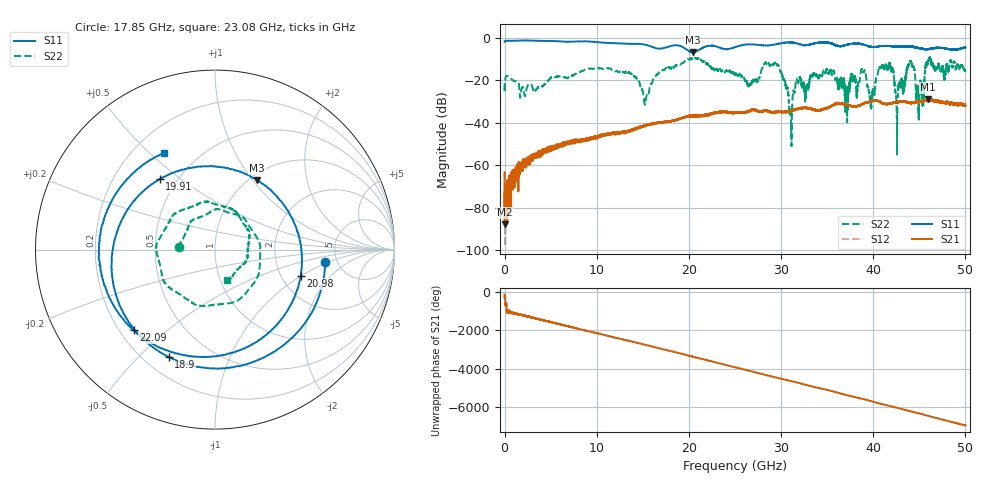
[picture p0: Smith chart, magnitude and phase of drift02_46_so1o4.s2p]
!Created with skrf (http://scikit-rf.org).
# Hz S RI R 50.0
!freq ReS11 ImS11 ReS21 ImS21 ReS12 ImS12 ReS22 ImS22
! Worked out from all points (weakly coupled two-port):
!   10001 points, 300 kHz to 50 GHz, reference 50 ohm
!   highest |S21| = -29.04 dB at 45.93 GHz (marker M1); lowest = -87.9 dB at 15.3 MHz (marker M2)
!   lowest |S11| = -6.9 dB at 20.41 GHz (marker M3), VSWR 2.65, Z = 54.1 + j52.5 ohm
!   |S11| at or under -10 dB: nowhere
!   |S22| runs from -55.0 to -9.2 dB; largest |S21 - S12| = 0.0032
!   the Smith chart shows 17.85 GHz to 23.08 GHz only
!   S11 on the Smith chart (normalised r, x): 17.85 GHz: 4.00, -0.92; 18.9 GHz: 0.30, -0.62; 19.91 GHz: 0.40, +0.42; 20.98 GHz: 2.56, -1.00; 22.09 GHz: 0.26, -0.39; 23.08 GHz: 0.32, +0.56
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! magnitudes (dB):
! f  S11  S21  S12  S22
! 300 kHz  -2.1  -63.4  -63.0  -21.6
! 15.3 MHz  -2.0  -87.9  -72.4  -24.7
! 8.335 GHz  -1.7  -48.3  -47.9  -15.7
! 15.33 GHz  -3.4  -41.0  -41.3  -29.1
! 16.67 GHz  -5.2  -40.2  -40.1  -17.0
! 17.85 GHz  -4.2  -39.5  -39.3  -13.9
! 18.9 GHz  -3.7  -38.3  -38.5  -12.5
! 19.91 GHz  -6.0  -37.1  -37.0  -10.1
! 20.41 GHz  -6.9  -37.3  -37.0  -10.0
! 20.98 GHz  -6.0  -36.5  -37.1  -9.7
! 22.09 GHz  -3.9  -36.4  -36.4  -12.8
! 23.08 GHz  -4.3  -35.3  -35.2  -14.9
! 25 GHz  -4.5  -35.3  -35.3  -17.5
! 29.51 GHz  -3.1  -35.1  -35.1  -12.6
! 31.03 GHz  -2.2  -34.4  -34.6  -35.6
! 33.34 GHz  -3.0  -33.3  -33.5  -18.1
! 38.92 GHz  -3.2  -31.2  -31.1  -16.1
! 39.86 GHz  -4.4  -29.8  -29.8  -28.6
! 41.67 GHz  -3.9  -31.0  -31.1  -13.0
! 42.58 GHz  -4.3  -30.4  -30.3  -46.5
! 45.93 GHz  -5.5  -29.0  -29.3  -11.7
! 50 GHz  -4.7  -32.1  -31.8  -15.8
